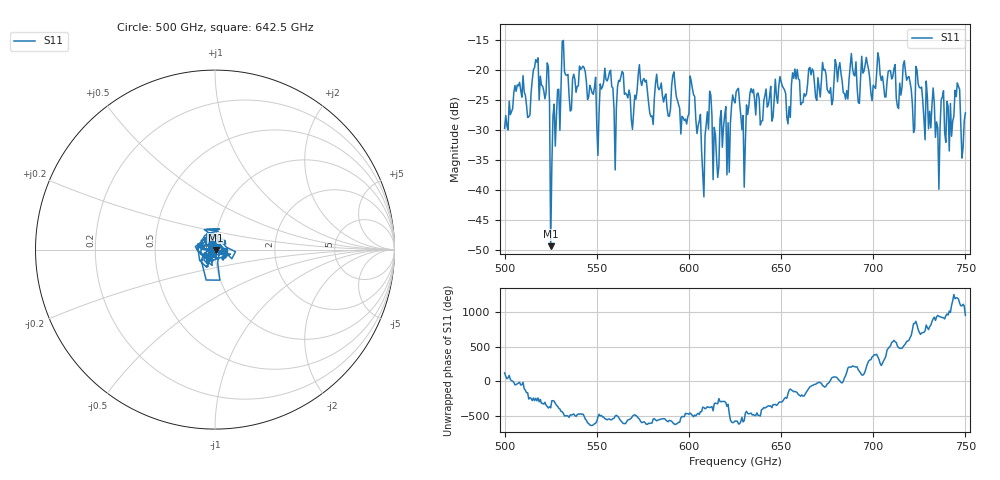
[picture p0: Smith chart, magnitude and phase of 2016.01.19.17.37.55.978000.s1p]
!Created with skrf (http://scikit-rf.org).
# GHz S RI R 50.0
!freq ReS11 ImS11
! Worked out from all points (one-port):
!   401 points, 500 GHz to 750 GHz, reference 50 ohm
!   lowest |S11| = -49.4 dB at 525 GHz (marker M1), VSWR 1.01, Z = 50.3 - j0.146 ohm
!   |S11| at or under -10 dB: start of sweep to end of sweep
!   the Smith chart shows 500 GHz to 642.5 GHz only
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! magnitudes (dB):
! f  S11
! 500 GHz  -29.7
! 506.9 GHz  -22.5
! 513.1 GHz  -27.8
! 516.9 GHz  -18.3
! 523.1 GHz  -18.8
! 525 GHz  -49.4
! 526.2 GHz  -27.7
! 531.2 GHz  -15.3
! 542.5 GHz  -19.4
! 551.2 GHz  -27.1
! 562.5 GHz  -21.9
! 570 GHz  -27.2
! 573.8 GHz  -21.7
! 579.4 GHz  -27.8
! 593.8 GHz  -25.0
! 601.9 GHz  -23.1
! 608.1 GHz  -41.1
! 610.6 GHz  -29.9
! 614.4 GHz  -30.8
! 625 GHz  -25.5
! 629.4 GHz  -27.6
! 634.4 GHz  -23.8
! 656.2 GHz  -20.5
! 687.5 GHz  -19.5
! 718.8 GHz  -21.2
! 735 GHz  -29.6
! 745.6 GHz  -22.1
! 750 GHz  -27.1
